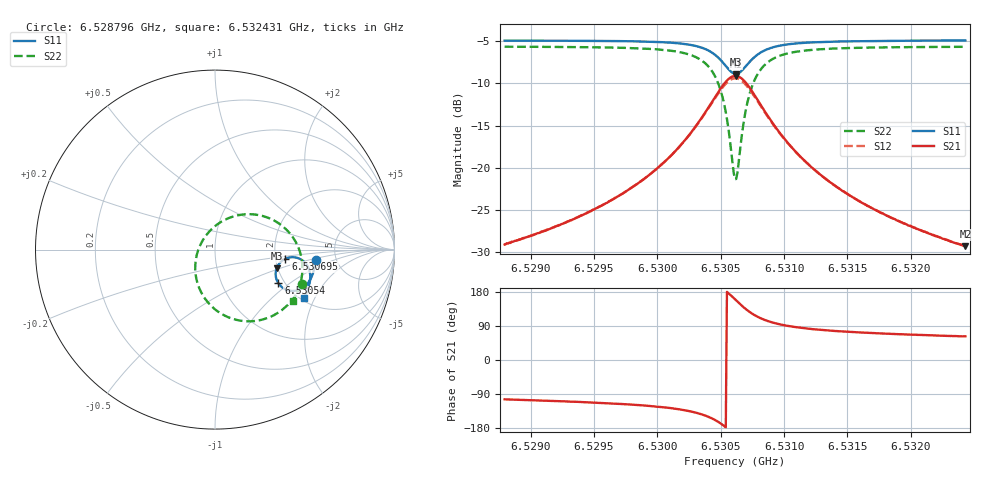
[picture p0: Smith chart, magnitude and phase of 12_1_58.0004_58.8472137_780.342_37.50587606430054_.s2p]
#  HZ  S  RI  R  50.00
! Rohde & Schwarz Vector Network Analyzer
! Rohde-Schwarz,ZNB20-2Port,1311601062101988,3.16
! Created: UTC 3/21/2024, 12:50:49 AM
! freq[Hz]  re:S11  im:S11  re:S21  im:S21  re:S12  im:S12  re:S22  im:S22
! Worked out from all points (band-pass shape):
!   401 points, 6.528796 GHz to 6.532431 GHz, reference 50 ohm
!   highest |S21| = -9.13 dB at 6.530622 GHz (marker M1); lowest = -29.3 dB at 6.532431 GHz (marker M2)
!   |S21| within 3 dB of the highest: 6.530434 GHz to 6.530798 GHz (363.3 kHz wide, 0.00556 % of centre)
!   lowest |S11| = -8.9 dB at 6.530622 GHz (marker M3), VSWR 2.12, Z = 98.4 - j23.8 ohm
!   |S11| at or under -10 dB: nowhere
!   |S22| runs from -21.3 to -5.7 dB; largest |S21 - S12| = 0.015
!   S11 on the Smith chart (normalised r, x): 6.528796 GHz: 3.48, -0.59; 6.53054 GHz: 1.85, -0.83; 6.530695 GHz: 2.27, -0.27; 6.532431 GHz: 2.10, -1.65
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6.5287956e9  0.5611 -0.0577  -0.00841 -0.0342  -0.00917 -0.0341  0.4829 -0.1911
6.5294044e9  0.5517 -0.1109  -0.0188 -0.0489  -0.0199 -0.0487  0.4502 -0.2529
6.5297407e9  0.5411 -0.1446  -0.0321 -0.0639  -0.0337 -0.0632  0.4157 -0.2975
6.5300133e9  0.5243 -0.1774  -0.0559 -0.0845  -0.0584 -0.0829  0.3619 -0.3451
6.5302314e9  0.4942 -0.2097  -0.1032 -0.1085  -0.1064 -0.1047  0.2667 -0.3893
6.5303859e9  0.4445 -0.2298  -0.1829 -0.1162  -0.1856 -0.1081  0.1205 -0.3917
6.5304768e9  0.3927 -0.2214  -0.2644 -0.0838  -0.2627 -0.0721  -0.014 -0.3202
6.5305131e9  0.369 -0.2059  -0.2999 -0.0498  -0.2946 -0.0375  -0.0673 -0.2555
6.5305404e9  0.3532 -0.1874  -0.3222 -0.0133  -0.3139 -0.00158  -0.0969 -0.1898
6.5305949e9  0.338 -0.1345  -0.3368 0.0837  -0.3237 0.0902  -0.1011 -0.0272
6.5306131e9  0.3402 -0.115  -0.3287 0.1181  -0.3151 0.1223  -0.0812 0.0275
6.5306222e9  0.3431 -0.1053  -0.3224 0.1346  -0.3087 0.1375  -0.0673 0.0534
6.5306404e9  0.3515 -0.0875  -0.3045 0.1654  -0.2914 0.1658  -0.0325 0.1
6.5306949e9  0.3922 -0.051  -0.2279 0.2257  -0.2189 0.2216  0.104 0.1855
6.5307221e9  0.4152 -0.0437  -0.187 0.2372  -0.1803 0.2326  0.1741 0.1969
6.5307585e9  0.4433 -0.043  -0.1384 0.238  -0.134 0.2335  0.256 0.1898
6.5308494e9  0.491 -0.0629  -0.0574 0.207  -0.0557 0.2046  0.3885 0.1202
6.5309857e9  0.5204 -0.1009  -0.0074 0.1539  -0.00625 0.1531  0.4643 0.0126
6.531222e9  0.5309 -0.1481  0.0146 0.099  0.0158 0.0988  0.4873 -0.1012
6.5315037e9  0.5274 -0.1857  0.0186 0.0672  0.0197 0.067  0.4793 -0.1739
6.5318308e9  0.5186 -0.2187  0.0183 0.048  0.019 0.0478  0.4632 -0.2254
6.5324306e9  0.4982 -0.2675  0.0159 0.0306  0.0168 0.0301  0.432 -0.2869
